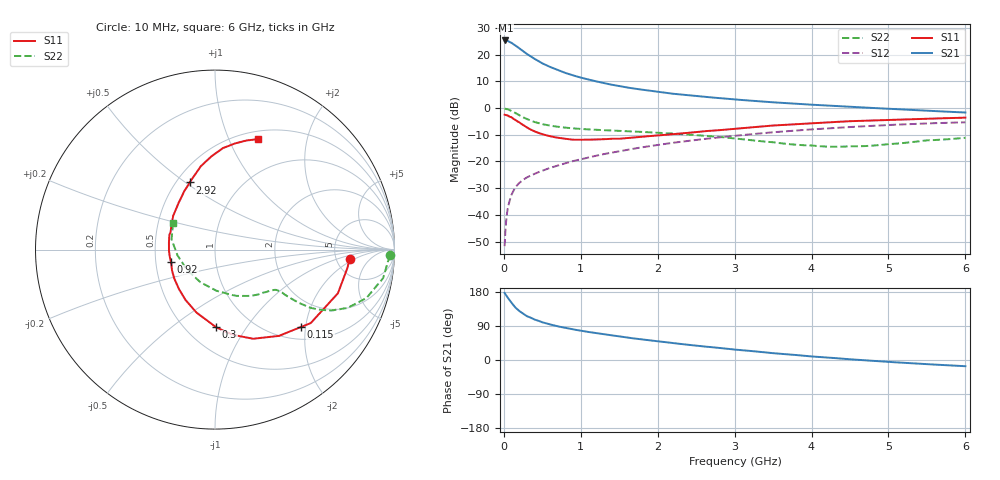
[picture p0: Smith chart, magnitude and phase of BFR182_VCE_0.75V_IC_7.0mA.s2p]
! Infineon Technologies  Discrete & RF Semiconductors
! BFR182
! VCE = 0.75 V,  IC =  7.0 mA
! Common Emitter S-Parameters:  Nov 2015
# GHz  S  MA  R  50
!  f  S11  S21  S12  S22
! GHz  MAG  ANG  MAG  ANG  MAG  ANG  MAG  ANG
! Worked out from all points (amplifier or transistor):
!   210 points, 10 MHz to 6 GHz, reference 50 ohm
!   highest |S21| = 25.3 dB at 20 MHz (marker M1)
!   |S21| within 3 dB of that: start of sweep to 204.1 MHz
!   unconditionally stable (mu >= 1): 780.8 MHz to 3.184 GHz
!   at 185 MHz: K = 0.44, MSG = 25.6 dB, |S12| = -28.5 dB
!   at 1.52 GHz: K = 1.09, MAG = 10.2 dB, |S12| = -16.0 dB
!   at 6 GHz: K = 0.94, MSG = 1.8 dB, |S12| = -5.3 dB
!   S11 on the Smith chart (normalised r, x): 10 MHz: 6.66, -1.61; 115 MHz: 1.28, -1.89; 300 MHz: 0.69, -0.74; 920 MHz: 0.60, -0.09; 2.92 GHz: 0.58, +0.52; 6 GHz: 0.59, +1.29
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0.01  0.7517 -4.0  18.4 177.0  0.0026 82.3  0.976 -1.9
0.02  0.7445 -8.0  18.41 173.6  0.0049 85.1  0.9664 -3.8
0.05  0.7267 -19.6  18.11 164.5  0.013 80.9  0.9502 -9.6
0.1  0.6724 -37.5  16.61 150.9  0.0238 73.0  0.8862 -17.7
0.115  0.6453 -41.9  16.02 147.4  0.0265 70.7  0.8616 -19.4
0.15  0.5987 -53.4  14.89 138.3  0.0328 66.8  0.8074 -23.7
0.2  0.5401 -66.9  13.17 129.4  0.0396 62.9  0.7322 -27.6
0.24  0.4928 -76.1  11.88 123.5  0.0441 61.1  0.6843 -29.4
0.3  0.433 -89.1  10.28 115.6  0.0504 59.7  0.622 -31.4
0.4  0.3659 -106.3  8.324 106.7  0.0588 59.1  0.5476 -32.5
0.5  0.325 -120.4  6.867 99.5  0.0673 59.4  0.4989 -32.7
0.6  0.2974 -132.6  5.89 93.9  0.0758 59.8  0.4688 -32.8
0.7  0.2786 -144.4  5.149 88.8  0.0835 60.9  0.4461 -32.7
0.92  0.2552 -163.8  4.004 80.1  0.1033 61.5  0.4144 -33.1
1.02  0.2554 -172.1  3.652 76.7  0.1117 61.7  0.4048 -33.7
1.4  0.2671 162.3  2.736 65.1  0.1463 61.2  0.38 -37.4
2.02  0.3086 135.9  1.994 49.0  0.2058 57.9  0.3456 -46.5
2.92  0.3996 110.5  1.484 29.3  0.2948 49.9  0.2775 -67.0
3.1  0.4211 106.8  1.413 25.8  0.3123 47.9  0.2601 -72.6
4.1  0.5292 90.7  1.135 8.0  0.407 36.1  0.1936 -119.9
5.1  0.6068 78.3  0.953 -6.2  0.4891 23.5  0.2159 -176.1
6  0.6613 68.6  0.825 -16.4  0.5414 11.3  0.2774 147.3
